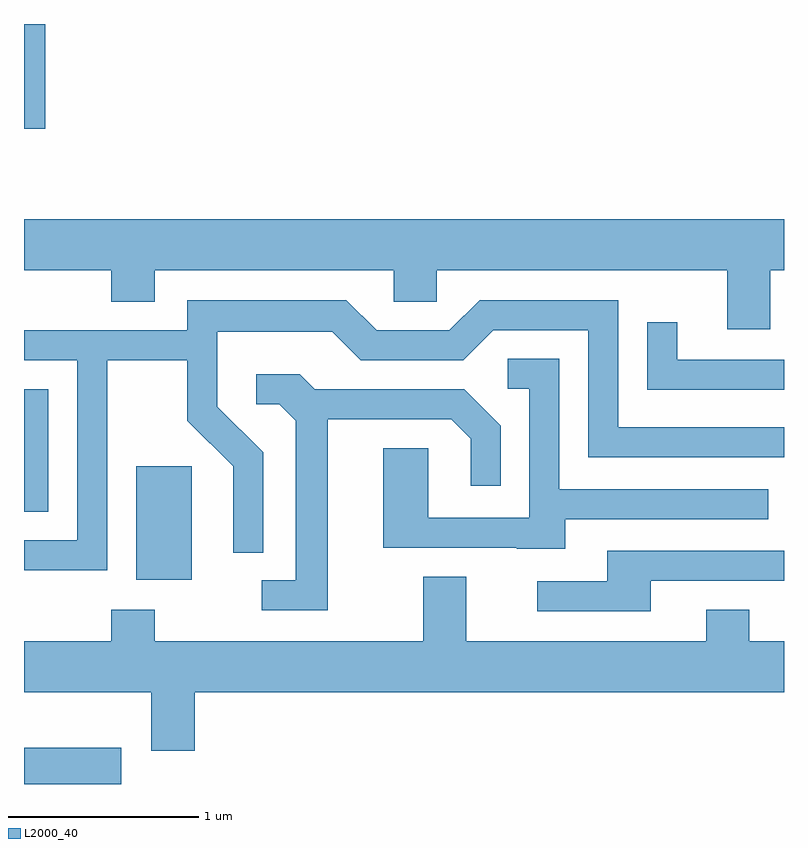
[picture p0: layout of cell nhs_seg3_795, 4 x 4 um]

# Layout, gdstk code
import gdstk
lib = gdstk.Library(unit=1e-6, precision=1e-09)
def R(c, l, rs):  # rectangles x0, y0, x1, y1
    for r in rs: c.add(gdstk.rectangle(r[:2], r[2:], *l))
def P(c, l, *ps):  # polygons
    for p in ps: c.add(gdstk.Polygon(p, *l))
L2000_40 = (2000, 40)

nhs_seg3_795 = lib.new_cell('nhs_seg3_795')
R(nhs_seg3_795, L2000_40, [(207.611,1209.892,208.124,1210.084), (208.201,1210.966,208.494,1211.564), (207.611,1211.326,207.739,1211.969), (207.611,1213.341,207.724,1213.892)])
P(nhs_seg3_795, L2000_40, [(211.539,1212.596),(211.611,1212.596),(211.611,1212.864),(207.611,1212.864),(207.611,1212.596),(208.071,1212.596),(208.071,1212.431),(208.299,1212.431),(208.299,1212.596),(209.556,1212.596),(209.556,1212.431),(209.784,1212.431),(209.784,1212.596),(211.311,1212.596),(211.311,1212.286),(211.539,1212.286)],
  [(208.049,1212.121),(208.471,1212.121),(208.471,1211.804),(208.711,1211.564),(208.711,1211.108),(208.869,1211.108),(208.869,1211.637),(208.629,1211.877),(208.629,1212.271),(209.234,1212.271),(209.384,1212.121),(209.922,1212.121),(210.082,1212.281),(210.581,1212.281),(210.581,1211.611),(211.611,1211.611),(211.611,1211.769),(210.739,1211.769),(210.739,1212.439),(210.009,1212.439),(209.849,1212.279),(209.467,1212.279),(209.307,1212.439),(208.471,1212.439),(208.471,1212.279),(207.611,1212.279),(207.611,1212.121),(207.891,1212.121),(207.891,1211.174),(207.611,1211.174),(207.611,1211.016),(208.049,1211.016)],
  [(211.611,1212.124),(211.049,1212.124),(211.049,1212.323),(210.891,1212.323),(210.891,1211.966),(211.611,1211.966)],
  [(210.459,1211.286),(211.528,1211.286),(211.528,1211.444),(210.429,1211.444),(210.429,1212.129),(210.158,1212.129),(210.158,1211.971),(210.271,1211.971),(210.271,1211.294),(209.739,1211.294),(209.739,1211.659),(209.501,1211.659),(209.501,1211.136),(210.205,1211.136),(210.205,1211.131),(210.459,1211.131)],
  [(209.209,1211.811),(209.859,1211.811),(209.961,1211.709),(209.961,1211.463),(210.119,1211.463),(210.119,1211.777),(209.927,1211.969),(209.142,1211.969),(209.062,1212.049),(208.833,1212.049),(208.833,1211.891),(208.954,1211.891),(209.041,1211.804),(209.041,1210.964),(208.863,1210.964),(208.863,1210.806),(209.209,1210.806)],
  [(210.909,1210.961),(211.611,1210.961),(211.611,1211.119),(210.681,1211.119),(210.681,1210.959),(210.313,1210.959),(210.313,1210.801),(210.909,1210.801)],
  [(208.509,1210.376),(211.611,1210.376),(211.611,1210.644),(211.429,1210.644),(211.429,1210.809),(211.201,1210.809),(211.201,1210.644),(209.939,1210.644),(209.939,1210.984),(209.711,1210.984),(209.711,1210.644),(208.299,1210.644),(208.299,1210.809),(208.071,1210.809),(208.071,1210.644),(207.611,1210.644),(207.611,1210.376),(208.281,1210.376),(208.281,1210.066),(208.509,1210.066)])

lib.write_gds('nhs_seg3_795.gds')
